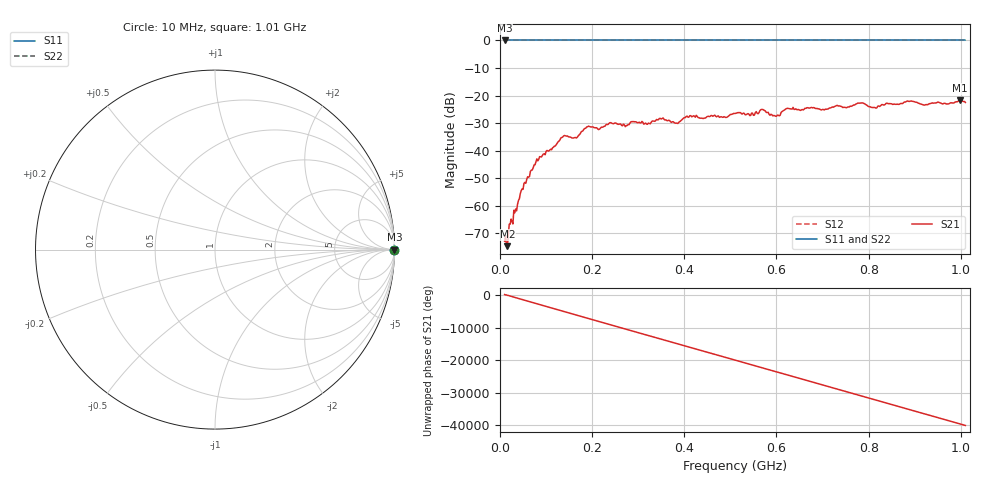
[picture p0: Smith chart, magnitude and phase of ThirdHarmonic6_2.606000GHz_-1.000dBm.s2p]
! 8/17/2025 5:40:37 AM
! C:\ANRITSUVNA\TEMP\TEMP.S2P
! CHANNEL.1
! TR.MEASUREMENT
! RAW.DATA
! RF.CORRECTION.OFF
! AVERAGING.OFF
! IF.BANDWIDTH: 5KHZ
! SWEEPTYPE:  FREQ.SWEEP(Linear)
! Reference Plane Port Info
! PORT:  PORT1  PORT2
! DISTANCE:  0  m  0  m
! TIME:  0  s  0  s
! PHASE.OFFSET:  0  deg.  0  deg.
! LOSS:  0  dB  0  dB
! REF.LOSS:  0  dB  0  dB
! REF.FREQ:  0  Hz  0  Hz
! Power Info
! POWER:  -20  dBm  -20  dBm
! EFF.POWER:  -20  dBm  -20  dBm
! SOURCE.ATTEN:  0  dB  0  dB
! TEST.ATTEN:  0  dB  0  dB
# GHZ S RI R 50.0
! FREQ.GHZ  S11RE  S11IM  S21RE  S21IM  S12RE  S12IM  S22RE  S22IM
!; PortSelection: Port_12
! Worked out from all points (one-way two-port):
!   501 points, 10 MHz to 1.01 GHz, reference 50 ohm
!   highest |S21| = -21.75 dB at 998 MHz (marker M1); lowest = -74.6 dB at 16 MHz (marker M2)
!   lowest |S11| = 0.0 dB at 10 MHz (marker M3)
!   |S11| at or under -10 dB: nowhere
!   |S22| runs from 0.0 to 0.0 dB; largest |S21 - S12| = 1.1
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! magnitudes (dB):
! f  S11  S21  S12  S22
! 10 MHz  0.0  -72.8  0.0  0.0
! 16 MHz  0.0  -74.6  0.0  0.0
! 48 MHz  0.0  -53.9  0.0  0.0
! 82 MHz  0.0  -43.7  0.0  0.0
! 136 MHz  0.0  -35.1  0.0  0.0
! 164 MHz  0.0  -35.2  0.0  0.0
! 178 MHz  0.0  -32.9  0.0  0.0
! 192 MHz  0.0  -31.1  0.0  0.0
! 322 MHz  0.0  -30.0  0.0  0.0
! 344 MHz  0.0  -28.7  0.0  0.0
! 384 MHz  0.0  -30.0  0.0  0.0
! 410 MHz  0.0  -27.8  0.0  0.0
! 510 MHz  0.0  -26.5  0.0  0.0
! 570 MHz  0.0  -25.0  0.0  0.0
! 602 MHz  0.0  -27.1  0.0  0.0
! 624 MHz  0.0  -24.6  0.0  0.0
! 678 MHz  0.0  -24.4  0.0  0.0
! 782 MHz  0.0  -22.7  0.0  0.0
! 814 MHz  0.0  -24.4  0.0  0.0
! 844 MHz  0.0  -22.9  0.0  0.0
! 998 MHz  0.0  -21.7  0.0  0.0
! 1.01 GHz  0.0  -22.5  0.0  0.0
